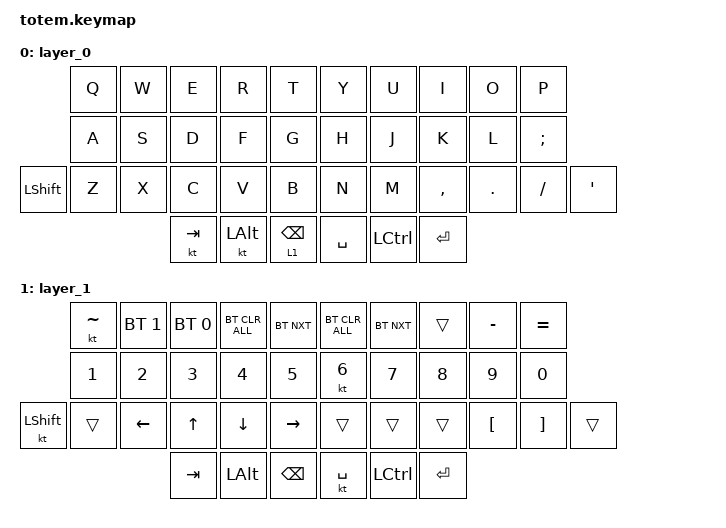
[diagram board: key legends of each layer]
//
//                                                        ▀▀▀▀▀     ▀▀▀▀▀          ▀▀█▀▀
//                                                        ▄▀▀▀▄  ▄  ▄▀▀▀▄  ▄  ▄▀▀▀▄  █  ▄▀▀▀▄
//                                                        █   █  █  █   █  █  █   █  █  █   █
//                                                         ▀▀▀   █   ▀▀▀   █   ▀▀▀   ▀   ▀▀▀
//                                                               █      ▄▄▄█▄▄▄    █   █  
//                                                               ▀      █  █  █     █▄█
//                                                             ▀▀▀▀▀    █  █  █      ▀
//                                                                      ▀  ▀  ▀
//
// ▄▄▄▄▄▄▄▄▄▄▄▄▄▄▄▄▄▄▄▄▄▄▄▄▄▄▄▄▄▄▄▄▄▄▄▄▄▄▄▄▄▄▄▄▄▄▄▄▄▄▄▄▄▄▄▄▄▄▄▄▄▄▄▄▄▄▄▄▄▄▄▄▄▄▄▄▄▄▄▄▄▄▄▄▄▄▄▄▄▄▄▄▄▄▄▄▄▄▄▄▄▄▄▄▄▄▄▄▄▄▄▄▄▄▄▄▄▄▄▄▄▄▄▄▄▄▄▄▄▄▄▄▄▄▄▄▄▄▄▄▄▄▄▄▄▄▄▄▄

#include <behaviors.dtsi>
#include <dt-bindings/zmk/bt.h>
#include <dt-bindings/zmk/keys.h>

#define BASE 0
#define NAV  1
#define SYM  2
#define ADJ  3
#define TVP1 4
#define TVP2 5

&mt {
    quick-tap-ms = <100>;
    global-quick-tap;
    flavor = "tap-preferred";
    tapping-term-ms = <170>;
};

/ {
    combos {
        compatible = "zmk,combos";

        combo_esc {
            timeout-ms = <50>;
            key-positions = <0 1>;
            bindings = <&kp ESC>;
        };

        combo_tvp {
            timeout-ms = <100>;
            key-positions = <11 12 13>;
            bindings = <&tog 0>;
        };
    };

    macros {
        gif: gif {
            label = "giphy";
            compatible = "zmk,behavior-macro";
            #binding-cells = <0>;
            bindings =
                <&macro_press>,
                <&kp LSHFT>,
                <&macro_tap>,
                <&kp N2>,
                <&macro_release>,
                <&kp LSHFT>,
                <&macro_tap>,
                <&kp G &kp I &kp F>;
        };
    };

    keymap {
        compatible = "zmk,keymap";

        // ▄▄▄▄▄▄▄▄▄▄▄▄▄▄▄▄▄▄▄▄▄▄▄▄▄▄▄▄▄▄▄▄▄▄▄▄▄▄▄▄▄▄▄▄▄▄▄▄▄▄▄▄▄▄▄▄▄▄▄▄▄▄▄▄▄▄▄▄▄▄▄▄▄▄▄▄▄▄▄▄▄▄▄▄▄▄▄▄▄▄▄▄▄▄▄▄▄▄▄▄▄▄▄▄▄▄▄▄▄▄▄▄▄▄▄▄▄▄▄▄▄▄▄▄▄▄▄▄▄▄▄▄▄▄▄▄▄▄▄▄▄▄▄▄▄▄▄▄▄
        // ▄▄▄▄▄▄▄▄▄▄▄▄▄▄▄▄▄▄▄▄▄▄▄▄▄▄▄▄▄▄▄▄▄▄▄▄▄▄▄▄▄▄▄▄▄▄▄▄▄▄▄▄▄▄▄▄▄▄▄▄▄▄▄▄▄▄▄▄▄▄▄▄▄▄▄▄▄▄▄▄▄▄▄▄▄▄▄▄▄▄▄▄▄▄▄▄▄▄▄▄▄▄▄▄▄▄▄▄▄▄▄▄▄▄▄▄▄▄▄▄▄▄▄▄▄▄▄▄▄▄▄▄▄▄▄▄▄▄▄▄▄▄▄▄▄▄▄▄▄
        // ▄▄▄▄▄▄▄▄▄▄▄▄▄▄▄▄▄▄▄▄▄▄▄▄▄▄▄▄▄▄▄▄▄▄▄▄▄▄▄▄▄▄▄▄▄▄▄▄▄▄▄▄▄▄▄▄▄▄▄▄▄▄▄▄▄▄▄▄▄▄▄▄▄▄▄▄▄▄▄▄▄▄▄▄▄▄▄▄▄▄▄▄▄▄▄▄▄▄▄▄▄▄▄▄▄▄▄▄▄▄▄▄▄▄▄▄▄▄▄▄▄▄▄▄▄▄▄▄▄▄▄▄▄▄▄▄▄▄▄▄▄▄▄▄▄▄▄▄▄
        // ▄▄▄▄▄▄▄▄▄▄▄▄▄▄▄▄▄▄▄▄▄▄▄▄▄▄▄▄▄▄▄▄▄▄▄▄▄▄▄▄▄▄▄▄▄▄▄▄▄▄▄▄▄▄▄▄▄▄▄▄▄▄▄▄▄▄▄▄▄▄▄▄▄▄▄▄▄▄▄▄▄▄▄▄▄▄▄▄▄▄▄▄▄▄▄▄▄▄▄▄▄▄▄▄▄▄▄▄▄▄▄▄▄▄▄▄▄▄▄▄▄▄▄▄▄▄▄▄▄▄▄▄▄▄▄▄▄▄▄▄▄▄▄▄▄▄▄▄▄
        // ▄▄▄▄▄▄▄▄▄▄▄▄▄▄▄▄▄▄▄▄▄▄▄▄▄▄▄▄▄▄▄▄▄▄▄▄▄▄▄▄▄▄▄▄▄▄▄▄▄▄▄▄▄▄▄▄▄▄▄▄▄▄▄▄▄▄▄▄▄▄▄▄▄▄▄▄▄▄▄▄▄▄▄▄▄▄▄▄▄▄▄▄▄▄▄▄▄▄▄▄▄▄▄▄▄▄▄▄▄▄▄▄▄▄▄▄▄▄▄▄▄▄▄▄▄▄▄▄▄▄▄▄▄▄▄▄▄▄▄▄▄▄▄▄▄▄▄▄▄
        // ▄▄▄▄▄▄▄▄▄▄▄▄▄▄▄▄▄▄▄▄▄▄▄▄▄▄▄▄▄▄▄▄▄▄▄▄▄▄▄▄▄▄▄▄▄▄▄▄▄▄▄▄▄▄▄▄▄▄▄▄▄▄▄▄▄▄▄▄▄▄▄▄▄▄▄▄▄▄▄▄▄▄▄▄▄▄▄▄▄▄▄▄▄▄▄▄▄▄▄▄▄▄▄▄▄▄▄▄▄▄▄▄▄▄▄▄▄▄▄▄▄▄▄▄▄▄▄▄▄▄▄▄▄▄▄▄▄▄▄▄▄▄▄▄▄▄▄▄▄

        layer_0 {
            bindings = <
                &kp Q  &kp W  &kp E    &kp R         &kp T              &kp Y      &kp U      &kp I      &kp O       &kp P
                &kp A  &kp S  &kp D    &kp F         &kp G              &kp H      &kp J      &kp K      &kp L       &kp SEMICOLON
&kp LEFT_SHIFT  &kp Z  &kp X  &kp C    &kp V         &kp B              &kp N      &kp M      &kp COMMA  &kp PERIOD  &kp SLASH      &kp SINGLE_QUOTE
                              &kt TAB  &kt LEFT_ALT  &lt 1 BACKSPACE    &kp SPACE  &kp LCTRL  &kp ENTER
            >;
        };

        layer_1 {
            bindings = <
                &kt TILDE     &bt BT_SEL 1    &bt BT_SEL 0  &bt BT_CLR_ALL  &bt BT_NXT       &bt BT_CLR_ALL  &bt BT_NXT  &trans     &kp MINUS         &kp EQUAL
                &kp NUMBER_1  &kp NUMBER_2    &kp NUMBER_3  &kp NUMBER_4    &kp N5           &kt NUMBER_6    &kp N7      &kp N8     &kp N9            &kp N0
&kt LEFT_SHIFT  &trans        &kp LEFT_ARROW  &kp UP        &kp DOWN        &kp RIGHT        &trans          &trans      &trans     &kp LEFT_BRACKET  &kp RIGHT_BRACKET  &trans
                                              &kp TAB       &kp LEFT_ALT    &kp BACKSPACE    &kt SPACE       &kp LCTRL   &kp ENTER
            >;
        };
    };
};
